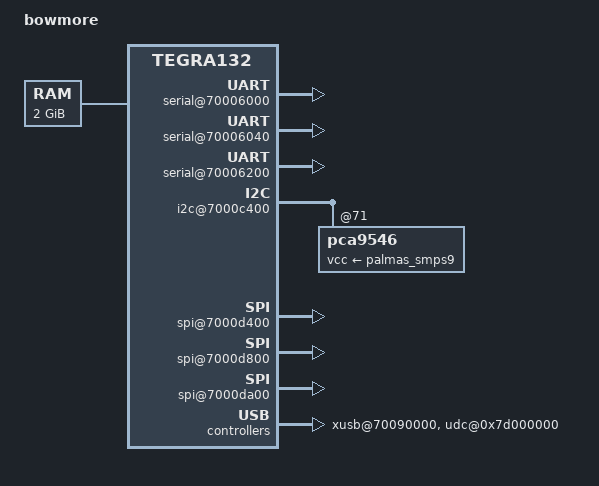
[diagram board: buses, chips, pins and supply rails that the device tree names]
/dts-v1/;

#include "tegra132.dtsi"
#include "tegra124-platforms/tegra124-tn8-keys-e1780-1100-a02.dtsi"
#include "tegra124-platforms/tegra124-tn8-pmic-e1936-1000-a00.dtsi"
#include "tegra124-platforms/tegra124-tn8-fixed-e1936-1000-a00.dtsi"
#include "tegra124-platforms/tegra124-tn8-gpio-e1780-1100-a02.dtsi"
#include "tegra124-platforms/tegra124-tn8-pinmux-e1780-1100-a02.dtsi"
#include "tegra132-platforms/tegra132-bowmore-powermon-e1971-1100-a00.dtsi"
#include "tegra132-tn8-dfll.dtsi"
#include "tegra132-platforms/tegra132-bowmore-sensor-e1934-1000-a00.dtsi"
#include "tegra132-platforms/tegra132-bowmore-camera-a00.dtsi"
#include <dt-bindings/thermal/thermal.h>

/ {
	model = "bowmore";
	compatible = "nvidia,bowmore", "nvidia,tegra132";
	nvidia,boardids = "1971:1100:00;1936:1000:00";
	nvidia,dtsfilename = __FILE__;
	nvidia,proc-boardid = "1971:1100:00";
	nvidia,pmu-boardid = "1936:1000:00";
	#address-cells = <2>;
	#size-cells = <2>;

	chosen {
		bootargs = "tegraid=40.0.0.00.00 vmalloc=256M video=tegrafb console=ttyS0,115200n8";
		linux,initrd-start = <0x82080000>;
		linux,initrd-end = <0x824B5300>;
	};

	serial@70006000 {
		compatible = "nvidia,tegra114-hsuart";
		status = "okay";
	};

	serial@70006040 {
		compatible = "nvidia,tegra114-hsuart";
		status = "okay";
	};

	serial@70006200 {
		compatible = "nvidia,tegra114-hsuart";
		status = "okay";
	};

	i2c@7000c000 {
		clock-frequency = <100000>;

	};

	i2c@7000c400 {
		pca9546@71 {
			vcc-supply = <&palmas_smps9>;
		};
	};


	i2c@7000d000 {
		nvidia,bit-banging-xfer-after-shutdown;

		palmas: tps65913 {
			palams_thermal: thermal {
				status = "okay";
			};

			pmic {
				regulators {
					palmas_smps9: smps9 {
						regulator-always-on;
						regulator-boot-on;
					};
				};
			};
		};
	};

	memory@0x80000000 {
		device_type = "memory";
		reg = <0x0 0x80000000 0x0 0x80000000>;
	};

	spi@7000d400 {
		status = "okay";
		spi-max-frequency = <25000000>;
	};

	spi@7000d800 {
		status = "okay";
		spi-max-frequency = <25000000>;
	};

	spi@7000da00 {
		status = "okay";
		spi-max-frequency = <25000000>;
	};

	pmc@7000e400 {
		status = "okay";
		nvidia,invert-interrupt;
		nvidia,suspend-mode = <0>;
		nvidia,cpu-pwr-good-time = <2000>;
		nvidia,cpu-pwr-off-time = <2000>;
		nvidia,core-pwr-good-time = <3845 3845>;
		nvidia,core-pwr-off-time = <2000>;
		nvidia,core-power-req-active-high;
		nvidia,sys-clock-req-active-high;
	};

	xusb@70090000 {
		/* nvidia,uses_external_pmic;
		nvidia,gpio_controls_muxed_ss_lanes; */
		nvidia,gpio_ss1_sata = <0>;
		nvidia,portmap = <0x703>; /* SSP0, SSP1 USB2P0, USB2P1, USBP2 */
		nvidia,ss_portmap = <0x20>; /* SSP0 on USB2P0, SSP1 on USB2P2 */
		nvidia,lane_owner = <6>; /* USB3P0 USB3P1 */
		nvidia,ulpicap = <0>; /* No ulpi support. can we remove */
		nvidia,supply_utmi_vbuses = "usb_vbus0", "usb_vbus1", "usb_vbus2";
		nvidia,supply_s3p3v = "hvdd_usb";
		nvidia,supply_s1p8v = "avdd_pll_utmip";
		nvidia,supply_vddio_hsic = "vddio_hsic";
		nvidia,supply_s1p05v = "avddio_usb";
		/* hsic config values in order defined in structure */
		nvidia,hsic0 = /bits/8 <0x1 0x1 0x8 0xa 0 0 1 0x22 0>;
		status = "okay";
	};

	udc@0x7d000000 {
		nvidia,port_otg;
		nvidia,charging_supported;
		nvidia,support_pmu_vbus;
		nvidia,vbus_extcon_dev_name = "palmas-extcon";
		nvidia,id_det_type = <1>;
		nvidia,id_extcon_dev_name = "palmas-extcon";
		status = "okay";
	};

	denver_cpuidle_pmic {
		type = <4>; /* TI TPS65913 2.3 */
		retention-voltage = <16>;
		lock = <0>;
	};

	dummy_cool_dev: dummy-cool-dev {
			compatible = "dummy-cooling-dev";
			#cooling-cells = <2>; /* min followed by max */
	};

	thermal-zones {
	       PMIC-Die {
			polling-delay = <0>; /* milliseconds */
			polling-delay-passive = <0>; /* milliseconds */
			thermal-sensors = <&palams_thermal>;

			trips {
				die_temp_thresh: hot-die {
					temperature = <120000>;
					type = "active";
					hysteresis = <0>;
				};
			};

			cooling-maps {
				map0 {
					trip = <&die_temp_thresh>;
					cooling-device = <&dummy_cool_dev THERMAL_NO_LIMIT
								THERMAL_NO_LIMIT>;
					contribution = <100>;
					cdev-type = "emergency-balanced";
				};
			};
		};
	};
};
